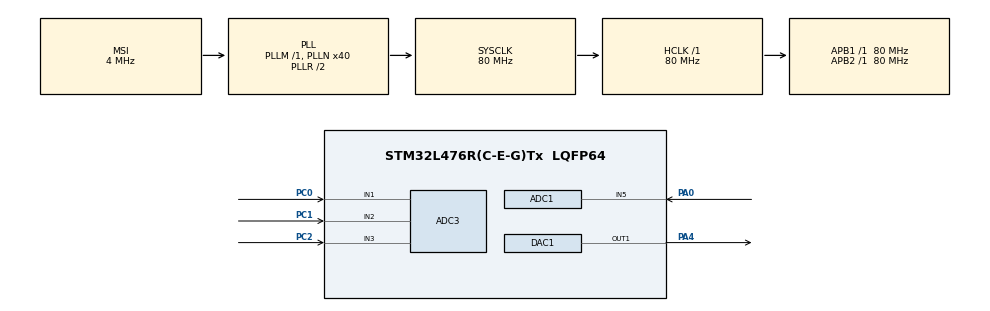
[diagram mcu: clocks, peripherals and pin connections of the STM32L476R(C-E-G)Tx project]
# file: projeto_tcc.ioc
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ADC1.Channel-0\#ChannelRegularConversion=ADC_CHANNEL_5
ADC1.ClockPrescaler=ADC_CLOCK_ASYNC_DIV4
ADC1.ContinuousConvMode=DISABLE
ADC1.DMAContinuousRequests=ENABLE
ADC1.ExternalTrigConv=ADC_EXTERNALTRIG_T6_TRGO
ADC1.NbrOfConversionFlag=1
ADC1.OffsetNumber-0\#ChannelRegularConversion=ADC_OFFSET_NONE
ADC1.Rank-0\#ChannelRegularConversion=1
ADC1.SamplingTime-0\#ChannelRegularConversion=ADC_SAMPLETIME_12CYCLES_5
ADC1.master=1
ADC3.Channel-0\#ChannelRegularConversion=ADC_CHANNEL_1
ADC3.Channel-1\#ChannelRegularConversion=ADC_CHANNEL_2
ADC3.Channel-2\#ChannelRegularConversion=ADC_CHANNEL_3
ADC3.ClockPrescaler=ADC_CLOCK_ASYNC_DIV4
ADC3.DMAContinuousRequests=ENABLE
ADC3.EOCSelection=ADC_EOC_SEQ_CONV
ADC3.ExternalTrigConv=ADC_EXTERNALTRIG_T3_TRGO
ADC3.NbrOfConversion=3
ADC3.NbrOfConversionFlag=1
ADC3.OffsetNumber-0\#ChannelRegularConversion=ADC_OFFSET_NONE
ADC3.OffsetNumber-1\#ChannelRegularConversion=ADC_OFFSET_NONE
ADC3.OffsetNumber-2\#ChannelRegularConversion=ADC_OFFSET_NONE
ADC3.Rank-0\#ChannelRegularConversion=1
ADC3.Rank-1\#ChannelRegularConversion=2
ADC3.Rank-2\#ChannelRegularConversion=3
ADC3.SamplingTime-0\#ChannelRegularConversion=ADC_SAMPLETIME_247CYCLES_5
ADC3.SamplingTime-1\#ChannelRegularConversion=ADC_SAMPLETIME_247CYCLES_5
ADC3.SamplingTime-2\#ChannelRegularConversion=ADC_SAMPLETIME_247CYCLES_5
DAC1.DAC_OutputBuffer-DAC_OUT1=DAC_OUTPUTBUFFER_DISABLE
DAC1.DAC_SampleAndHold-DAC_OUT1=DAC_SAMPLEANDHOLD_DISABLE
DAC1.DAC_Trigger-DAC_OUT1=DAC_TRIGGER_T6_TRGO
Dma.ADC1.0.Direction=DMA_PERIPH_TO_MEMORY
Dma.ADC1.0.Instance=DMA1_Channel1
Dma.ADC1.0.MemDataAlignment=DMA_MDATAALIGN_HALFWORD
Dma.ADC1.0.MemInc=DMA_MINC_ENABLE
Dma.ADC1.0.Mode=DMA_CIRCULAR
Dma.ADC1.0.PeriphDataAlignment=DMA_PDATAALIGN_HALFWORD
Dma.ADC1.0.PeriphInc=DMA_PINC_DISABLE
Dma.ADC1.0.Priority=DMA_PRIORITY_HIGH
Dma.ADC3.2.Direction=DMA_PERIPH_TO_MEMORY
Dma.ADC3.2.Instance=DMA2_Channel5
Dma.ADC3.2.MemDataAlignment=DMA_MDATAALIGN_HALFWORD
Dma.ADC3.2.MemInc=DMA_MINC_ENABLE
Dma.ADC3.2.Mode=DMA_CIRCULAR
Dma.ADC3.2.PeriphDataAlignment=DMA_PDATAALIGN_HALFWORD
Dma.ADC3.2.PeriphInc=DMA_PINC_DISABLE
Dma.ADC3.2.Priority=DMA_PRIORITY_LOW
Dma.DAC_CH1.1.Direction=DMA_MEMORY_TO_PERIPH
Dma.DAC_CH1.1.Instance=DMA1_Channel3
Dma.DAC_CH1.1.MemDataAlignment=DMA_MDATAALIGN_HALFWORD
Dma.DAC_CH1.1.MemInc=DMA_MINC_ENABLE
Dma.DAC_CH1.1.Mode=DMA_CIRCULAR
Dma.DAC_CH1.1.PeriphDataAlignment=DMA_PDATAALIGN_HALFWORD
Dma.DAC_CH1.1.PeriphInc=DMA_PINC_DISABLE
Dma.DAC_CH1.1.Priority=DMA_PRIORITY_HIGH
Dma.Request0=ADC1
Dma.Request1=DAC_CH1
Dma.Request2=ADC3
Mcu.Family=STM32L4
Mcu.Name=STM32L476R(C-E-G)Tx
Mcu.Package=LQFP64
NVIC.ADC1_2_IRQn=true\:0\:0\:false\:false\:true\:true\:true\:true
NVIC.ADC3_IRQn=true\:0\:0\:false\:false\:true\:true\:true\:true
NVIC.DMA1_Channel1_IRQn=true\:0\:0\:false\:false\:true\:false\:true\:true
NVIC.DMA1_Channel3_IRQn=true\:0\:0\:false\:false\:true\:false\:true\:true
NVIC.DMA2_Channel5_IRQn=true\:0\:0\:false\:false\:true\:false\:true\:true
NVIC.PriorityGroup=NVIC_PRIORITYGROUP_4
NVIC.TIM3_IRQn=true\:0\:0\:false\:false\:true\:true\:true\:true
NVIC.TIM6_DAC_IRQn=true\:0\:0\:false\:false\:true\:true\:true\:true
PA0.Signal=ADCx_IN5
PA4.Signal=COMP_DAC11_group
PC0.Signal=ADCx_IN1
PC1.Signal=ADCx_IN2
PC2.Signal=ADCx_IN3
ProjectManager.HeapSize=0x200
ProjectManager.StackSize=0x400
ProjectManager.TargetToolchain=STM32CubeIDE
RCC.ADCFreq_Value=32000000
RCC.AHBFreq_Value=80000000
RCC.APB1Freq_Value=80000000
RCC.APB1TimFreq_Value=80000000
RCC.APB2Freq_Value=80000000
RCC.APB2TimFreq_Value=80000000
RCC.CortexFreq_Value=80000000
RCC.HCLKFreq_Value=80000000
RCC.HSE_VALUE=8000000
RCC.HSI_VALUE=16000000
RCC.LSE_VALUE=32768
RCC.MSI_VALUE=4000000
RCC.PLLN=40
RCC.PLLSAI1N=16
RCC.PREFETCH_ENABLE=1
RCC.SYSCLKFreq_VALUE=80000000
RCC.SYSCLKSource=RCC_SYSCLKSOURCE_PLLCLK
RCC.USBFreq_Value=32000000
RCC.VCOOutputFreq_Value=160000000
SH.ADCx_IN1.0=ADC3_IN1,IN1-Single-Ended
SH.ADCx_IN2.0=ADC3_IN2,IN2-Single-Ended
SH.ADCx_IN3.0=ADC3_IN3,IN3-Single-Ended
SH.ADCx_IN5.0=ADC1_IN5,IN5-Single-Ended
SH.COMP_DAC11_group.0=DAC1_OUT1,DAC_OUT1
TIM3.AutoReloadPreload=TIM_AUTORELOAD_PRELOAD_DISABLE
TIM3.Channel-PWM\ Generation1\ No\ Output=TIM_CHANNEL_1
TIM3.Period=9999
TIM3.Prescaler=79
TIM3.TIM_MasterOutputTrigger=TIM_TRGO_UPDATE
TIM6.AutoReloadPreload=TIM_AUTORELOAD_PRELOAD_DISABLE
TIM6.Period=1666
TIM6.TIM_MasterOutputTrigger=TIM_TRGO_UPDATE
VP_TIM3_VS_ClockSourceINT.Mode=Internal
VP_TIM3_VS_no_output1.Mode=PWM Generation1 No Output
VP_TIM6_VS_ClockSourceINT.Mode=Enable_Timer
board=NUCLEO-L476RG

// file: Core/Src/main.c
/* USER CODE BEGIN Header */
/**
  ******************************************************************************
  * @file           : main.c
  * @brief          : Main program body
  ******************************************************************************
  * @attention
  *
  * Copyright (c) 2026 STMicroelectronics.
  * All rights reserved.
  *
  * This software is licensed under terms that can be found in the LICENSE file
  * in the root directory of this software component.
  * If no LICENSE file comes with this software, it is provided AS-IS.
  *
  ******************************************************************************
  */
/* USER CODE END Header */
#include "main.h"

/* USER CODE BEGIN Includes */
#include "Delay.h"
#include "Schoroeder_Reverb.h"
/* USER CODE END Includes */

/* USER CODE BEGIN PD */
// sample rate
#define SAMPLE_RATE_Hz 48000.0f
// tamanho do buffer do adc e dac
#define BUFFER_SIZE 128

// compŕimento do buffer de memoria dos delays
#define COMB1_DELAY 1440
#define COMB2_DELAY 1714
#define COMB3_DELAY 1791
#define COMB4_DELAY 1877
#define ALLP1_DELAY	240
#define ALLP2_DELAY	82
/* USER CODE END PD */

ADC_HandleTypeDef hadc1;
ADC_HandleTypeDef hadc3;
DMA_HandleTypeDef hdma_adc1;
DMA_HandleTypeDef hdma_adc3;

DAC_HandleTypeDef hdac1;
DMA_HandleTypeDef hdma_dac_ch1;

TIM_HandleTypeDef htim3;
TIM_HandleTypeDef htim6;

/* USER CODE BEGIN PV */

float delay_comb1[COMB1_DELAY];
float delay_comb2[COMB2_DELAY];
float delay_comb3[COMB3_DELAY];
float delay_comb4[COMB4_DELAY];
float delay_allpass1[ALLP1_DELAY];
float delay_allpass2[ALLP2_DELAY];

CombFilter comb;
AllPassFilter allp;

uint16_t adcx[BUFFER_SIZE];
uint16_t dacx[BUFFER_SIZE];

static volatile uint16_t *inBufPtr;
static volatile uint16_t *outBufPtr = &dacx[0];
uint16_t adcControlPot[3];
volatile uint8_t controlSettingsReady;
volatile float controlSettings[3];
float prevcontrolSettings[3];

volatile float wet;

/* USER CODE END PV */

void SystemClock_Config(void);
void PeriphCommonClock_Config(void);
static void MX_GPIO_Init(void);
static void MX_DMA_Init(void);
static void MX_ADC1_Init(void);
static void MX_DAC1_Init(void);
static void MX_TIM6_Init(void);
static void MX_ADC3_Init(void);
static void MX_TIM3_Init(void);

/* USER CODE BEGIN 0 */

void processHalf(void)
{
	controlSettingsReady = 0;
    for (uint16_t n = 0; n < BUFFER_SIZE / 2; n++)
    {
        float audioIn;
        float audioOut;

        audioIn = ((float)inBufPtr[n] - 2048.0f) / 2048.0f;

        float comb_sum = CombFilterUpdate(&comb, audioIn, 0, &comb.comDelay[0])+ CombFilterUpdate(&comb, audioIn, 1, &comb.comDelay[1])+
        		CombFilterUpdate(&comb, audioIn, 2, &comb.comDelay[2]) + CombFilterUpdate(&comb, audioIn, 3, &comb.comDelay[3]);
        comb_sum *= 0.25f;
        float allpass1 = AllPassFilterUpdate(&allp, comb_sum, &allp.allpDelay[0], 0);
        float allpass2 = AllPassFilterUpdate(&allp, allpass1, &allp.allpDelay[1], 1);

        audioOut = audioIn*(1-wet) + allpass2*(wet);
        //audioOut  = audioIn;

        if (audioOut > 1.0f)
            audioOut = 1.0f;

        if (audioOut < -1.0f)
            audioOut = -1.0f;

        //audioOut *= outputVolume;
        outBufPtr[n] =
            (uint16_t)((audioOut + 1.0f) * 2047.5f);

    }
    controlSettingsReady = 1;
}

void HAL_ADC_ConvHalfCpltCallback(ADC_HandleTypeDef *hadc){
	if (hadc->Instance == ADC1){
		inBufPtr = &adcx[0];
		outBufPtr = &dacx[0];
		processHalf();
	}

}

void HAL_ADC_ConvCpltCallback(ADC_HandleTypeDef *hadc){
	if (hadc->Instance == ADC1){
		inBufPtr = &adcx[BUFFER_SIZE/2];
		outBufPtr = &dacx[BUFFER_SIZE/2];
		processHalf();
	}
	else if (hadc->Instance == ADC3){

		controlSettingsReady = 0;
		for (uint8_t n=0; n <3 ;n++){
			float pot = adcControlPot[n]/4095.0f;

			controlSettings[n] =
			    controlSettings[n]
			    + 0.2696f * (pot - controlSettings[n]);

		}
		controlSettingsReady = 1;

	}

}

/* USER CODE END 0 */

int main(void)
{

  /* MCU Configuration--------------------------------------------------------*/

  /* Reset of all peripherals, Initializes the Flash interface and the Systick. */
  HAL_Init();

  /* USER CODE BEGIN Init */

  	comb.comDelay[0].memory = delay_comb1;
  	comb.comDelay[1].memory = delay_comb2;
  	comb.comDelay[2].memory = delay_comb3;
  	comb.comDelay[3].memory = delay_comb4;

  	allp.allpDelay[0].memory = delay_allpass1;
  	allp.allpDelay[1].memory = delay_allpass2;

  /* USER CODE END Init */

  /* Configure the system clock */
  SystemClock_Config();

  /* Configure the peripherals common clocks */
  PeriphCommonClock_Config();

  /* Initialize all configured peripherals */
  MX_GPIO_Init();
  MX_DMA_Init();
  MX_ADC1_Init();
  MX_DAC1_Init();
  MX_TIM6_Init();
  MX_ADC3_Init();
  MX_TIM3_Init();
  /* USER CODE BEGIN 2 */

  float delay_ms_comb[4] = {30.0f, 35.7f, 37.3f, 39.1f};
  float delay_ms_allp[2] = {5.0f, 1.7f};
  float gain_allp[2] = {0.7f, 0.7f};
  CombFilterInit(&comb, SAMPLE_RATE_Hz, 1.0f, delay_ms_comb);
  AllPassFilterInit(&allp, SAMPLE_RATE_Hz, delay_ms_allp, gain_allp);

  wet = 0.5f;

  HAL_ADC_Start_DMA(&hadc1, (uint32_t *)adcx, BUFFER_SIZE);
  HAL_ADC_Start_DMA(&hadc3, (uint32_t *)adcControlPot, 3);
  HAL_DAC_Start_DMA(&hdac1, DAC_CHANNEL_1, (uint32_t *)dacx, BUFFER_SIZE, DAC_ALIGN_12B_R);

  HAL_TIM_Base_Start(&htim6);
  HAL_TIM_Base_Start(&htim3);
  /* USER CODE END 2 */

  /* Infinite loop */
  while (1)
  {

    /* USER CODE BEGIN 3 */
	  if (controlSettingsReady ==1){

		  if (fabsf(controlSettings[0] - prevcontrolSettings[0]) > 0.01f){

			  	  	  CombFilterSetTimeDelay(&comb,controlSettings[0]);

		  			  prevcontrolSettings[0] = controlSettings[0];
		  		  }

		  		  if (fabsf(controlSettings[1] - prevcontrolSettings[1]) > 0.01f){

		  		  		wet = controlSettings[1];

		  		  		prevcontrolSettings[1] = controlSettings[1];
		  		  	  }
//		  		  if (fabsf(controlSettings[2] - prevcontrolSettings[2]) > 0.01f){
//
//
//
//		  		  	}
	  }

  }
  /* USER CODE END 3 */
}

void SystemClock_Config(void)
{
  RCC_OscInitTypeDef RCC_OscInitStruct = {0};
  RCC_ClkInitTypeDef RCC_ClkInitStruct = {0};

  /** Configure the main internal regulator output voltage
  */
  if (HAL_PWREx_ControlVoltageScaling(PWR_REGULATOR_VOLTAGE_SCALE1) != HAL_OK)
  {
    Error_Handler();
  }

  /** Initializes the RCC Oscillators according to the specified parameters
  * in the RCC_OscInitTypeDef structure.
  */
  RCC_OscInitStruct.OscillatorType = RCC_OSCILLATORTYPE_MSI;
  RCC_OscInitStruct.MSIState = RCC_MSI_ON;
  RCC_OscInitStruct.MSICalibrationValue = 0;
  RCC_OscInitStruct.MSIClockRange = RCC_MSIRANGE_6;
  RCC_OscInitStruct.PLL.PLLState = RCC_PLL_ON;
  RCC_OscInitStruct.PLL.PLLSource = RCC_PLLSOURCE_MSI;
  RCC_OscInitStruct.PLL.PLLM = 1;
  RCC_OscInitStruct.PLL.PLLN = 40;
  RCC_OscInitStruct.PLL.PLLP = RCC_PLLP_DIV7;
  RCC_OscInitStruct.PLL.PLLQ = RCC_PLLQ_DIV2;
  RCC_OscInitStruct.PLL.PLLR = RCC_PLLR_DIV2;
  if (HAL_RCC_OscConfig(&RCC_OscInitStruct) != HAL_OK)
  {
    Error_Handler();
  }

  /** Initializes the CPU, AHB and APB buses clocks
  */
  RCC_ClkInitStruct.ClockType = RCC_CLOCKTYPE_HCLK|RCC_CLOCKTYPE_SYSCLK
                              |RCC_CLOCKTYPE_PCLK1|RCC_CLOCKTYPE_PCLK2;
  RCC_ClkInitStruct.SYSCLKSource = RCC_SYSCLKSOURCE_PLLCLK;
  RCC_ClkInitStruct.AHBCLKDivider = RCC_SYSCLK_DIV1;
  RCC_ClkInitStruct.APB1CLKDivider = RCC_HCLK_DIV1;
  RCC_ClkInitStruct.APB2CLKDivider = RCC_HCLK_DIV1;

  if (HAL_RCC_ClockConfig(&RCC_ClkInitStruct, FLASH_LATENCY_4) != HAL_OK)
  {
    Error_Handler();
  }
}

void PeriphCommonClock_Config(void)
{
  RCC_PeriphCLKInitTypeDef PeriphClkInit = {0};

  /** Initializes the peripherals clock
  */
  PeriphClkInit.PeriphClockSelection = RCC_PERIPHCLK_ADC;
  PeriphClkInit.AdcClockSelection = RCC_ADCCLKSOURCE_PLLSAI1;
  PeriphClkInit.PLLSAI1.PLLSAI1Source = RCC_PLLSOURCE_MSI;
  PeriphClkInit.PLLSAI1.PLLSAI1M = 1;
  PeriphClkInit.PLLSAI1.PLLSAI1N = 16;
  PeriphClkInit.PLLSAI1.PLLSAI1P = RCC_PLLP_DIV7;
  PeriphClkInit.PLLSAI1.PLLSAI1Q = RCC_PLLQ_DIV2;
  PeriphClkInit.PLLSAI1.PLLSAI1R = RCC_PLLR_DIV2;
  PeriphClkInit.PLLSAI1.PLLSAI1ClockOut = RCC_PLLSAI1_ADC1CLK;
  if (HAL_RCCEx_PeriphCLKConfig(&PeriphClkInit) != HAL_OK)
  {
    Error_Handler();
  }
}

static void MX_ADC1_Init(void)
{

  ADC_MultiModeTypeDef multimode = {0};
  ADC_ChannelConfTypeDef sConfig = {0};

  /** Common config
  */
  hadc1.Instance = ADC1;
  hadc1.Init.ClockPrescaler = ADC_CLOCK_ASYNC_DIV4;
  hadc1.Init.Resolution = ADC_RESOLUTION_12B;
  hadc1.Init.DataAlign = ADC_DATAALIGN_RIGHT;
  hadc1.Init.ScanConvMode = ADC_SCAN_DISABLE;
  hadc1.Init.EOCSelection = ADC_EOC_SINGLE_CONV;
  hadc1.Init.LowPowerAutoWait = DISABLE;
  hadc1.Init.ContinuousConvMode = DISABLE;
  hadc1.Init.NbrOfConversion = 1;
  hadc1.Init.DiscontinuousConvMode = DISABLE;
  hadc1.Init.ExternalTrigConv = ADC_EXTERNALTRIG_T6_TRGO;
  hadc1.Init.ExternalTrigConvEdge = ADC_EXTERNALTRIGCONVEDGE_RISING;
  hadc1.Init.DMAContinuousRequests = ENABLE;
  hadc1.Init.Overrun = ADC_OVR_DATA_PRESERVED;
  hadc1.Init.OversamplingMode = DISABLE;
  if (HAL_ADC_Init(&hadc1) != HAL_OK)
  {
    Error_Handler();
  }

  /** Configure the ADC multi-mode
  */
  multimode.Mode = ADC_MODE_INDEPENDENT;
  if (HAL_ADCEx_MultiModeConfigChannel(&hadc1, &multimode) != HAL_OK)
  {
    Error_Handler();
  }

  /** Configure Regular Channel
  */
  sConfig.Channel = ADC_CHANNEL_5;
  sConfig.Rank = ADC_REGULAR_RANK_1;
  sConfig.SamplingTime = ADC_SAMPLETIME_12CYCLES_5;
  sConfig.SingleDiff = ADC_SINGLE_ENDED;
  sConfig.OffsetNumber = ADC_OFFSET_NONE;
  sConfig.Offset = 0;
  if (HAL_ADC_ConfigChannel(&hadc1, &sConfig) != HAL_OK)
  {
    Error_Handler();
  }

}

static void MX_ADC3_Init(void)
{

  ADC_ChannelConfTypeDef sConfig = {0};

  /** Common config
  */
  hadc3.Instance = ADC3;
  hadc3.Init.ClockPrescaler = ADC_CLOCK_ASYNC_DIV4;
  hadc3.Init.Resolution = ADC_RESOLUTION_12B;
  hadc3.Init.DataAlign = ADC_DATAALIGN_RIGHT;
  hadc3.Init.ScanConvMode = ADC_SCAN_ENABLE;
  hadc3.Init.EOCSelection = ADC_EOC_SEQ_CONV;
  hadc3.Init.LowPowerAutoWait = DISABLE;
  hadc3.Init.ContinuousConvMode = DISABLE;
  hadc3.Init.NbrOfConversion = 3;
  hadc3.Init.DiscontinuousConvMode = DISABLE;
  hadc3.Init.ExternalTrigConv = ADC_EXTERNALTRIG_T3_TRGO;
  hadc3.Init.ExternalTrigConvEdge = ADC_EXTERNALTRIGCONVEDGE_RISING;
  hadc3.Init.DMAContinuousRequests = ENABLE;
  hadc3.Init.Overrun = ADC_OVR_DATA_PRESERVED;
  hadc3.Init.OversamplingMode = DISABLE;
  if (HAL_ADC_Init(&hadc3) != HAL_OK)
  {
    Error_Handler();
  }

  /** Configure Regular Channel
  */
  sConfig.Channel = ADC_CHANNEL_1;
  sConfig.Rank = ADC_REGULAR_RANK_1;
  sConfig.SamplingTime = ADC_SAMPLETIME_247CYCLES_5;
  sConfig.SingleDiff = ADC_SINGLE_ENDED;
  sConfig.OffsetNumber = ADC_OFFSET_NONE;
  sConfig.Offset = 0;
  if (HAL_ADC_ConfigChannel(&hadc3, &sConfig) != HAL_OK)
  {
    Error_Handler();
  }

  /** Configure Regular Channel
  */
  sConfig.Channel = ADC_CHANNEL_2;
  sConfig.Rank = ADC_REGULAR_RANK_2;
  if (HAL_ADC_ConfigChannel(&hadc3, &sConfig) != HAL_OK)
  {
    Error_Handler();
  }

  /** Configure Regular Channel
  */
  sConfig.Channel = ADC_CHANNEL_3;
  sConfig.Rank = ADC_REGULAR_RANK_3;
  if (HAL_ADC_ConfigChannel(&hadc3, &sConfig) != HAL_OK)
  {
    Error_Handler();
  }

}

static void MX_DAC1_Init(void)
{

  DAC_ChannelConfTypeDef sConfig = {0};

  /** DAC Initialization
  */
  hdac1.Instance = DAC1;
  if (HAL_DAC_Init(&hdac1) != HAL_OK)
  {
    Error_Handler();
  }

  /** DAC channel OUT1 config
  */
  sConfig.DAC_SampleAndHold = DAC_SAMPLEANDHOLD_DISABLE;
  sConfig.DAC_Trigger = DAC_TRIGGER_T6_TRGO;
  sConfig.DAC_OutputBuffer = DAC_OUTPUTBUFFER_DISABLE;
  sConfig.DAC_ConnectOnChipPeripheral = DAC_CHIPCONNECT_DISABLE;
  sConfig.DAC_UserTrimming = DAC_TRIMMING_FACTORY;
  if (HAL_DAC_ConfigChannel(&hdac1, &sConfig, DAC_CHANNEL_1) != HAL_OK)
  {
    Error_Handler();
  }

}

static void MX_TIM3_Init(void)
{

  TIM_ClockConfigTypeDef sClockSourceConfig = {0};
  TIM_MasterConfigTypeDef sMasterConfig = {0};
  TIM_OC_InitTypeDef sConfigOC = {0};

  htim3.Instance = TIM3;
  htim3.Init.Prescaler = 79;
  htim3.Init.CounterMode = TIM_COUNTERMODE_UP;
  htim3.Init.Period = 9999;
  htim3.Init.ClockDivision = TIM_CLOCKDIVISION_DIV1;
  htim3.Init.AutoReloadPreload = TIM_AUTORELOAD_PRELOAD_DISABLE;
  if (HAL_TIM_Base_Init(&htim3) != HAL_OK)
  {
    Error_Handler();
  }
  sClockSourceConfig.ClockSource = TIM_CLOCKSOURCE_INTERNAL;
  if (HAL_TIM_ConfigClockSource(&htim3, &sClockSourceConfig) != HAL_OK)
  {
    Error_Handler();
  }
  if (HAL_TIM_PWM_Init(&htim3) != HAL_OK)
  {
    Error_Handler();
  }
  sMasterConfig.MasterOutputTrigger = TIM_TRGO_UPDATE;
  sMasterConfig.MasterSlaveMode = TIM_MASTERSLAVEMODE_DISABLE;
  if (HAL_TIMEx_MasterConfigSynchronization(&htim3, &sMasterConfig) != HAL_OK)
  {
    Error_Handler();
  }
  sConfigOC.OCMode = TIM_OCMODE_PWM1;
  sConfigOC.Pulse = 0;
  sConfigOC.OCPolarity = TIM_OCPOLARITY_HIGH;
  sConfigOC.OCFastMode = TIM_OCFAST_DISABLE;
  if (HAL_TIM_PWM_ConfigChannel(&htim3, &sConfigOC, TIM_CHANNEL_1) != HAL_OK)
  {
    Error_Handler();
  }

}

static void MX_TIM6_Init(void)
{

  TIM_MasterConfigTypeDef sMasterConfig = {0};

  htim6.Instance = TIM6;
  htim6.Init.Prescaler = 0;
  htim6.Init.CounterMode = TIM_COUNTERMODE_UP;
  htim6.Init.Period = 1666;
  htim6.Init.AutoReloadPreload = TIM_AUTORELOAD_PRELOAD_DISABLE;
  if (HAL_TIM_Base_Init(&htim6) != HAL_OK)
  {
    Error_Handler();
  }
  sMasterConfig.MasterOutputTrigger = TIM_TRGO_UPDATE;
  sMasterConfig.MasterSlaveMode = TIM_MASTERSLAVEMODE_DISABLE;
  if (HAL_TIMEx_MasterConfigSynchronization(&htim6, &sMasterConfig) != HAL_OK)
  {
    Error_Handler();
  }

}

static void MX_DMA_Init(void)
{

  /* DMA controller clock enable */
  __HAL_RCC_DMA1_CLK_ENABLE();
  __HAL_RCC_DMA2_CLK_ENABLE();

  /* DMA interrupt init */
  /* DMA1_Channel1_IRQn interrupt configuration */
  HAL_NVIC_SetPriority(DMA1_Channel1_IRQn, 0, 0);
  HAL_NVIC_EnableIRQ(DMA1_Channel1_IRQn);
  /* DMA1_Channel3_IRQn interrupt configuration */
  HAL_NVIC_SetPriority(DMA1_Channel3_IRQn, 0, 0);
  HAL_NVIC_EnableIRQ(DMA1_Channel3_IRQn);
  /* DMA2_Channel5_IRQn interrupt configuration */
  HAL_NVIC_SetPriority(DMA2_Channel5_IRQn, 0, 0);
  HAL_NVIC_EnableIRQ(DMA2_Channel5_IRQn);

}

static void MX_GPIO_Init(void)
{

  /* GPIO Ports Clock Enable */
  __HAL_RCC_GPIOC_CLK_ENABLE();
  __HAL_RCC_GPIOA_CLK_ENABLE();

}

void Error_Handler(void)
{
  __disable_irq();
  while (1)
  {
  }
}
